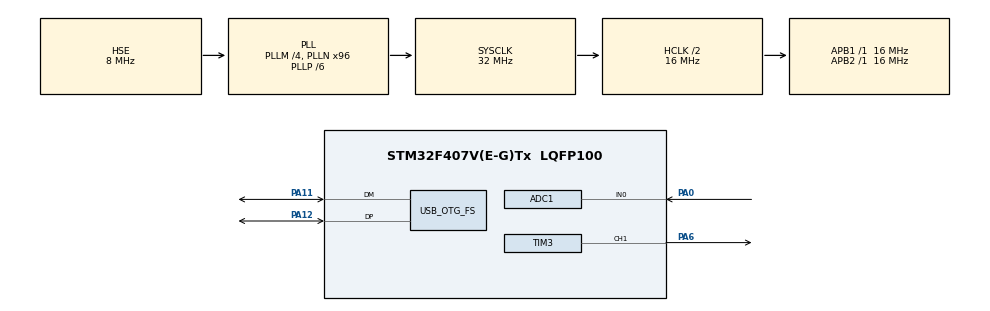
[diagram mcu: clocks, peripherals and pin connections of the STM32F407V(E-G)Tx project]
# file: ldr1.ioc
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ADC1.Channel-0\#ChannelRegularConversion=ADC_CHANNEL_0
ADC1.NbrOfConversionFlag=1
ADC1.Rank-0\#ChannelRegularConversion=1
ADC1.SamplingTime-0\#ChannelRegularConversion=ADC_SAMPLETIME_3CYCLES
ADC1.master=1
Mcu.Family=STM32F4
Mcu.Name=STM32F407V(E-G)Tx
Mcu.Package=LQFP100
NVIC.OTG_FS_IRQn=true\:0\:0\:false\:false\:true\:false\:true\:true
NVIC.PriorityGroup=NVIC_PRIORITYGROUP_4
PA0-WKUP.Signal=ADCx_IN0
PA11.Mode=Device_Only
PA11.Signal=USB_OTG_FS_DM
PA12.Mode=Device_Only
PA12.Signal=USB_OTG_FS_DP
PA13.Mode=Serial_Wire
PA13.Signal=SYS_JTMS-SWDIO
PA14.Mode=Serial_Wire
PA14.Signal=SYS_JTCK-SWCLK
PA6.Signal=S_TIM3_CH1
PH0-OSC_IN.Mode=HSE-External-Oscillator
PH0-OSC_IN.Signal=RCC_OSC_IN
PH1-OSC_OUT.Mode=HSE-External-Oscillator
PH1-OSC_OUT.Signal=RCC_OSC_OUT
ProjectManager.HeapSize=0x200
ProjectManager.StackSize=0x400
ProjectManager.TargetToolchain=STM32CubeIDE
RCC.48MHZClocksFreq_Value=48000000
RCC.AHBCLKDivider=RCC_SYSCLK_DIV2
RCC.AHBFreq_Value=16000000
RCC.APB1Freq_Value=16000000
RCC.APB1TimFreq_Value=16000000
RCC.APB2Freq_Value=16000000
RCC.APB2TimFreq_Value=16000000
RCC.CortexFreq_Value=16000000
RCC.HCLKFreq_Value=16000000
RCC.HSE_VALUE=8000000
RCC.HSI_VALUE=16000000
RCC.LSE_VALUE=32768
RCC.PLLM=4
RCC.PLLN=96
RCC.PLLP=RCC_PLLP_DIV6
RCC.SYSCLKFreq_VALUE=32000000
RCC.SYSCLKSource=RCC_SYSCLKSOURCE_PLLCLK
RCC.VCOOutputFreq_Value=192000000
SH.ADCx_IN0.0=ADC1_IN0,IN0
SH.S_TIM3_CH1.0=TIM3_CH1,PWM Generation1 CH1
TIM3.AutoReloadPreload=TIM_AUTORELOAD_PRELOAD_ENABLE
TIM3.Channel-PWM\ Generation1\ CH1=TIM_CHANNEL_1
TIM3.Period=3200-1
TIM3.Pulse-PWM\ Generation1\ CH1=500-1
USB_DEVICE.CLASS_NAME_FS=CDC
USB_DEVICE.VirtualMode-CDC_FS=Cdc
USB_DEVICE.VirtualModeFS=Cdc_FS
USB_OTG_FS.VirtualMode=Device_Only
VP_USB_DEVICE_VS_USB_DEVICE_CDC_FS.Mode=CDC_FS
board=custom

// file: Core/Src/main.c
/* USER CODE BEGIN Header */
/**
  ******************************************************************************
  * @file           : main.c
  * @brief          : Main program body
  ******************************************************************************
  * @attention
  *
  * Copyright (c) 2023 STMicroelectronics.
  * All rights reserved.
  *
  * This software is licensed under terms that can be found in the LICENSE file
  * in the root directory of this software component.
  * If no LICENSE file comes with this software, it is provided AS-IS.
  *
  ******************************************************************************
  */
/* USER CODE END Header */
#include "main.h"
#include "usb_device.h"

/* USER CODE BEGIN Includes */
#include "usbd_cdc_if.h"
/* USER CODE END Includes */

/* USER CODE BEGIN PTD */
uint8_t receivebuffer[64];
/* USER CODE END PTD */

ADC_HandleTypeDef hadc1;

TIM_HandleTypeDef htim3;

/* USER CODE BEGIN PV */
int monitor = 0;
/* USER CODE END PV */

void SystemClock_Config(void);
static void MX_GPIO_Init(void);
static void MX_TIM3_Init(void);
static void MX_ADC1_Init(void);

/* USER CODE BEGIN 0 */
int adcDeger = 0;
int Pwm_Deger;
/* USER CODE END 0 */

int main(void)
{

  /* MCU Configuration--------------------------------------------------------*/

  /* Reset of all peripherals, Initializes the Flash interface and the Systick. */
  HAL_Init();

  /* Configure the system clock */
  SystemClock_Config();

  /* Initialize all configured peripherals */
  MX_GPIO_Init();
  MX_TIM3_Init();
  MX_USB_DEVICE_Init();
  MX_ADC1_Init();
  /* USER CODE BEGIN 2 */
HAL_TIM_PWM_Start(&htim3, TIM_CHANNEL_1);
  /* USER CODE END 2 */

  /* Infinite loop */
  /* USER CODE BEGIN WHILE */
  while (1)
  {
	  HAL_ADC_Start(&hadc1);
	  	adcDeger = HAL_ADC_GetValue(&hadc1);
	  	adcDeger = 4095-adcDeger;

	  	adcDeger = adcDeger - 900;
	  	if(adcDeger < 0) adcDeger = 0;

	  	Pwm_Deger = (adcDeger*3200)/2500;
	  	if(Pwm_Deger > 3200) Pwm_Deger = 3200;

	  	__HAL_TIM_SET_COMPARE(&htim3,TIM_CHANNEL_1,Pwm_Deger);

	  	HAL_Delay(100);

    /* USER CODE END WHILE */

  }
}

void SystemClock_Config(void)
{
  RCC_OscInitTypeDef RCC_OscInitStruct = {0};
  RCC_ClkInitTypeDef RCC_ClkInitStruct = {0};

  /** Configure the main internal regulator output voltage
  */
  __HAL_RCC_PWR_CLK_ENABLE();
  __HAL_PWR_VOLTAGESCALING_CONFIG(PWR_REGULATOR_VOLTAGE_SCALE1);

  /** Initializes the RCC Oscillators according to the specified parameters
  * in the RCC_OscInitTypeDef structure.
  */
  RCC_OscInitStruct.OscillatorType = RCC_OSCILLATORTYPE_HSE;
  RCC_OscInitStruct.HSEState = RCC_HSE_ON;
  RCC_OscInitStruct.PLL.PLLState = RCC_PLL_ON;
  RCC_OscInitStruct.PLL.PLLSource = RCC_PLLSOURCE_HSE;
  RCC_OscInitStruct.PLL.PLLM = 4;
  RCC_OscInitStruct.PLL.PLLN = 96;
  RCC_OscInitStruct.PLL.PLLP = RCC_PLLP_DIV6;
  RCC_OscInitStruct.PLL.PLLQ = 4;
  if (HAL_RCC_OscConfig(&RCC_OscInitStruct) != HAL_OK)
  {
    Error_Handler();
  }

  /** Initializes the CPU, AHB and APB buses clocks
  */
  RCC_ClkInitStruct.ClockType = RCC_CLOCKTYPE_HCLK|RCC_CLOCKTYPE_SYSCLK
                              |RCC_CLOCKTYPE_PCLK1|RCC_CLOCKTYPE_PCLK2;
  RCC_ClkInitStruct.SYSCLKSource = RCC_SYSCLKSOURCE_PLLCLK;
  RCC_ClkInitStruct.AHBCLKDivider = RCC_SYSCLK_DIV2;
  RCC_ClkInitStruct.APB1CLKDivider = RCC_HCLK_DIV1;
  RCC_ClkInitStruct.APB2CLKDivider = RCC_HCLK_DIV1;

  if (HAL_RCC_ClockConfig(&RCC_ClkInitStruct, FLASH_LATENCY_0) != HAL_OK)
  {
    Error_Handler();
  }
}

static void MX_ADC1_Init(void)
{

  ADC_ChannelConfTypeDef sConfig = {0};

  /** Configure the global features of the ADC (Clock, Resolution, Data Alignment and number of conversion)
  */
  hadc1.Instance = ADC1;
  hadc1.Init.ClockPrescaler = ADC_CLOCK_SYNC_PCLK_DIV2;
  hadc1.Init.Resolution = ADC_RESOLUTION_12B;
  hadc1.Init.ScanConvMode = DISABLE;
  hadc1.Init.ContinuousConvMode = DISABLE;
  hadc1.Init.DiscontinuousConvMode = DISABLE;
  hadc1.Init.ExternalTrigConvEdge = ADC_EXTERNALTRIGCONVEDGE_NONE;
  hadc1.Init.ExternalTrigConv = ADC_SOFTWARE_START;
  hadc1.Init.DataAlign = ADC_DATAALIGN_RIGHT;
  hadc1.Init.NbrOfConversion = 1;
  hadc1.Init.DMAContinuousRequests = DISABLE;
  hadc1.Init.EOCSelection = ADC_EOC_SINGLE_CONV;
  if (HAL_ADC_Init(&hadc1) != HAL_OK)
  {
    Error_Handler();
  }

  /** Configure for the selected ADC regular channel its corresponding rank in the sequencer and its sample time.
  */
  sConfig.Channel = ADC_CHANNEL_0;
  sConfig.Rank = 1;
  sConfig.SamplingTime = ADC_SAMPLETIME_3CYCLES;
  if (HAL_ADC_ConfigChannel(&hadc1, &sConfig) != HAL_OK)
  {
    Error_Handler();
  }

}

static void MX_TIM3_Init(void)
{

  TIM_MasterConfigTypeDef sMasterConfig = {0};
  TIM_OC_InitTypeDef sConfigOC = {0};

  htim3.Instance = TIM3;
  htim3.Init.Prescaler = 0;
  htim3.Init.CounterMode = TIM_COUNTERMODE_UP;
  htim3.Init.Period = 3200-1;
  htim3.Init.ClockDivision = TIM_CLOCKDIVISION_DIV1;
  htim3.Init.AutoReloadPreload = TIM_AUTORELOAD_PRELOAD_ENABLE;
  if (HAL_TIM_PWM_Init(&htim3) != HAL_OK)
  {
    Error_Handler();
  }
  sMasterConfig.MasterOutputTrigger = TIM_TRGO_RESET;
  sMasterConfig.MasterSlaveMode = TIM_MASTERSLAVEMODE_DISABLE;
  if (HAL_TIMEx_MasterConfigSynchronization(&htim3, &sMasterConfig) != HAL_OK)
  {
    Error_Handler();
  }
  sConfigOC.OCMode = TIM_OCMODE_PWM1;
  sConfigOC.Pulse = 500-1;
  sConfigOC.OCPolarity = TIM_OCPOLARITY_HIGH;
  sConfigOC.OCFastMode = TIM_OCFAST_DISABLE;
  if (HAL_TIM_PWM_ConfigChannel(&htim3, &sConfigOC, TIM_CHANNEL_1) != HAL_OK)
  {
    Error_Handler();
  }
  HAL_TIM_MspPostInit(&htim3);

}

static void MX_GPIO_Init(void)
{

  /* GPIO Ports Clock Enable */
  __HAL_RCC_GPIOH_CLK_ENABLE();
  __HAL_RCC_GPIOA_CLK_ENABLE();

}

void Error_Handler(void)
{
  __disable_irq();
  while (1)
  {
  }
}
